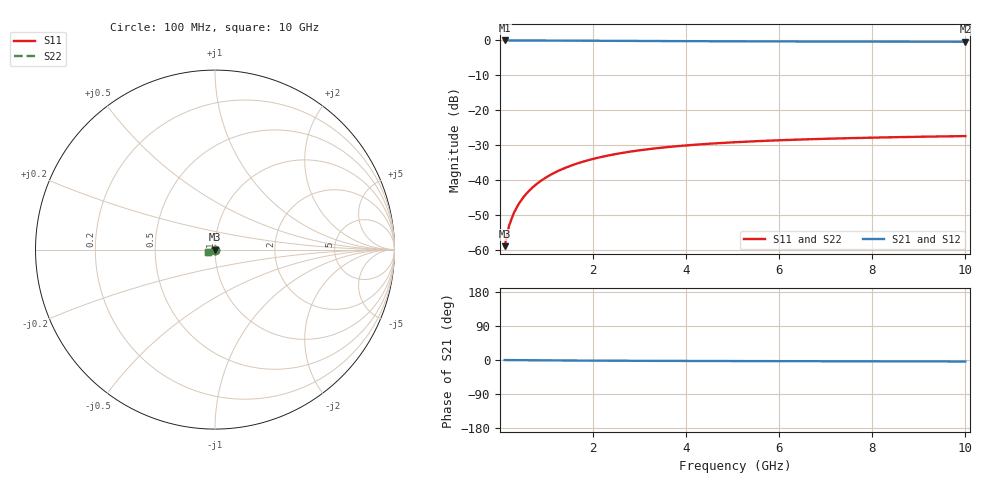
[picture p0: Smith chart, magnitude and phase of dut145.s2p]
! Touchstone file exported from HFSS 2024.1.0
!  File:  C:/UserFiles/LocalFiles/RDL_TSV_Batchsim/temp_TSV1_145_1779380790.aedt
!  Generated:  12:32:28 AM May 22, 2026
!  Design:  TSV1
!  Project:  temp_TSV1_145_1779380790
!  Setup:  Setup1
!  Solution:  Sweep
! Variables:
!  dtsv = 12.21um
!  hbump = 3um
!  htsv = 59.25um
!  lrdl = 252.1521522um
!  p = 40
!  p1 = 44um
!  t = 500um
!  trdl = 3um
!  wrdl = 24.89489489um
# GHz S MA R 50.000000
! Terminal data exported
! Port[1] = TSV22_T1
! Port[2] = TSV22_T2
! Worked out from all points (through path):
!   100 points, 100 MHz to 10 GHz, reference 50 ohm
!   highest |S21| = 0.00 dB at 100 MHz (marker M1); lowest = -0.4 dB at 10 GHz (marker M2)
!   lowest |S11| = -58.9 dB at 100 MHz (marker M3), VSWR 1.00, Z = 50 - j0.114 ohm
!   |S11| at or under -10 dB: start of sweep to end of sweep
!   |S22| runs from -58.9 to -27.4 dB; largest |S21 - S12| = 3.1e-15
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0.1  0.001139 -87.4  0.9999 -0.1  0.9999 -0.1  0.001139 -87.4
! Gamma 0 0 0 0
! Port Impedance 50 0 50 0
0.2  0.00228 -91.2  0.9998 -0.2  0.9998 -0.2  0.00228 -91.2
0.3  0.00342 -93.5  0.9996 -0.3  0.9996 -0.3  0.00342 -93.5
0.4  0.004554 -95.3  0.9994 -0.4  0.9994 -0.4  0.004554 -95.3
0.5  0.005677 -97.0  0.9991 -0.5  0.9991 -0.5  0.005677 -97.0
0.6  0.006787 -98.6  0.9988 -0.6  0.9988 -0.6  0.006787 -98.6
0.7  0.007883 -100.2  0.9984 -0.7  0.9984 -0.7  0.007883 -100.2
0.8  0.008962 -101.8  0.9979 -0.8  0.9979 -0.8  0.008962 -101.8
0.9  0.01002 -103.3  0.9974 -0.9  0.9974 -0.9  0.01002 -103.3
1.1  0.01208 -106.2  0.9963 -1.0  0.9963 -1.0  0.01208 -106.2
1.4  0.01501 -110.4  0.9945 -1.3  0.9945 -1.3  0.01501 -110.4
1.6  0.01683 -113.0  0.9931 -1.4  0.9931 -1.4  0.01683 -113.0
1.8  0.01855 -115.6  0.9917 -1.5  0.9917 -1.5  0.01855 -115.6
2.1  0.02094 -119.2  0.9895 -1.7  0.9895 -1.7  0.02094 -119.2
2.5  0.02378 -123.5  0.9866 -1.9  0.9866 -1.9  0.02378 -123.5
2.9  0.02624 -127.5  0.9839 -2.1  0.9839 -2.1  0.02624 -127.5
3.4  0.02887 -131.9  0.9806 -2.3  0.9806 -2.3  0.02887 -131.9
4.2  0.03224 -137.8  0.976 -2.6  0.976 -2.6  0.03224 -137.8
5.1  0.03511 -143.2  0.9717 -2.8  0.9717 -2.8  0.03511 -143.2
6.7  0.03867 -150.5  0.966 -3.2  0.966 -3.2  0.03867 -150.5
8.4  0.04117 -156.4  0.9619 -3.6  0.9619 -3.6  0.04117 -156.4
10  0.0428 -160.9  0.9591 -4.0  0.9591 -4.0  0.0428 -160.9
